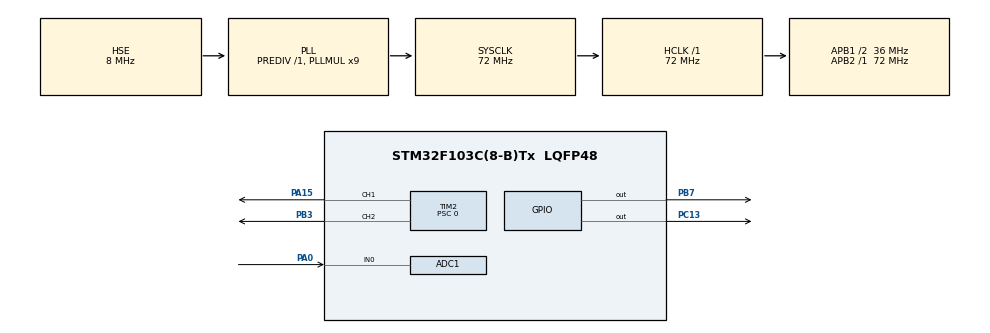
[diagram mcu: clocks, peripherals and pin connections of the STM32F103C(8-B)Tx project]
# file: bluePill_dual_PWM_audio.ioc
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ADC1.Channel-1\#ChannelRegularConversion=ADC_CHANNEL_0
ADC1.ExternalTrigConv=ADC_EXTERNALTRIGCONV_T3_TRGO
ADC1.NbrOfConversionFlag=1
ADC1.Rank-1\#ChannelRegularConversion=1
ADC1.SamplingTime-1\#ChannelRegularConversion=ADC_SAMPLETIME_71CYCLES_5
ADC1.master=1
Dma.ADC1.0.Direction=DMA_PERIPH_TO_MEMORY
Dma.ADC1.0.Instance=DMA1_Channel1
Dma.ADC1.0.MemDataAlignment=DMA_MDATAALIGN_HALFWORD
Dma.ADC1.0.MemInc=DMA_MINC_ENABLE
Dma.ADC1.0.Mode=DMA_CIRCULAR
Dma.ADC1.0.PeriphDataAlignment=DMA_PDATAALIGN_HALFWORD
Dma.ADC1.0.PeriphInc=DMA_PINC_DISABLE
Dma.ADC1.0.Priority=DMA_PRIORITY_LOW
Dma.Request0=ADC1
Mcu.Family=STM32F1
Mcu.Name=STM32F103C(8-B)Tx
Mcu.Package=LQFP48
NVIC.DMA1_Channel1_IRQn=true\:1\:0\:true\:false\:true\:false\:true\:true
NVIC.PriorityGroup=NVIC_PRIORITYGROUP_4
NVIC.TIM3_IRQn=true\:14\:0\:true\:false\:true\:true\:true\:true
PA0-WKUP.Signal=ADCx_IN0
PA13.Mode=Serial_Wire
PA13.Signal=SYS_JTMS-SWDIO
PA14.Mode=Serial_Wire
PA14.Signal=SYS_JTCK-SWCLK
PA15.Signal=S_TIM2_CH1_ETR
PB3.Signal=S_TIM2_CH2
PB7.Signal=GPIO_Output
PC13-TAMPER-RTC.Signal=GPIO_Output
PC14-OSC32_IN.Mode=LSE-External-Oscillator
PC14-OSC32_IN.Signal=RCC_OSC32_IN
PC15-OSC32_OUT.Mode=LSE-External-Oscillator
PC15-OSC32_OUT.Signal=RCC_OSC32_OUT
PD0-OSC_IN.Mode=HSE-External-Oscillator
PD0-OSC_IN.Signal=RCC_OSC_IN
PD1-OSC_OUT.Mode=HSE-External-Oscillator
PD1-OSC_OUT.Signal=RCC_OSC_OUT
ProjectManager.HeapSize=0x200
ProjectManager.StackSize=0x400
ProjectManager.TargetToolchain=STM32CubeIDE
RCC.ADCPresc=RCC_ADCPCLK2_DIV6
RCC.AHBFreq_Value=72000000
RCC.APB1CLKDivider=RCC_HCLK_DIV2
RCC.APB1Freq_Value=36000000
RCC.APB1TimFreq_Value=72000000
RCC.APB2Freq_Value=72000000
RCC.APB2TimFreq_Value=72000000
RCC.HCLKFreq_Value=72000000
RCC.PLLMUL=RCC_PLL_MUL9
RCC.PLLSourceVirtual=RCC_PLLSOURCE_HSE
RCC.SYSCLKFreq_VALUE=72000000
RCC.SYSCLKSource=RCC_SYSCLKSOURCE_PLLCLK
RCC.USBFreq_Value=48000000
RCC.USBPrescaler=RCC_USBCLKSOURCE_PLL_DIV1_5
SH.ADCx_IN0.0=ADC1_IN0,IN0
SH.S_TIM2_CH1_ETR.0=TIM2_CH1,PWM Generation1 CH1
SH.S_TIM2_CH2.0=TIM2_CH2,PWM Generation2 CH2
TIM2.Channel-PWM\ Generation1\ CH1=TIM_CHANNEL_1
TIM2.Channel-PWM\ Generation2\ CH2=TIM_CHANNEL_2
TIM2.Period=63
TIM2.Prescaler=0
TIM2.Pulse-PWM\ Generation1\ CH1=0
TIM2.TIM_MasterOutputTrigger=TIM_TRGO_RESET
TIM3.Channel-PWM\ Generation1\ No\ Output=TIM_CHANNEL_1
TIM3.Period=2999
TIM3.Prescaler=0
TIM3.TIM_MasterOutputTrigger=TIM_TRGO_UPDATE
VP_TIM2_VS_ClockSourceINT.Mode=Internal
VP_TIM3_VS_ClockSourceINT.Mode=Internal
VP_TIM3_VS_no_output1.Mode=PWM Generation1 No Output
board=custom

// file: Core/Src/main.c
/* USER CODE BEGIN Header */
/**
  ******************************************************************************
  * @file           : main.c
  * @brief          : Main program body
  ******************************************************************************
  * @attention
  *
  * Copyright (c) 2024 STMicroelectronics.
  * All rights reserved.
  *
  * This software is licensed under terms that can be found in the LICENSE file
  * in the root directory of this software component.
  * If no LICENSE file comes with this software, it is provided AS-IS.
  *
  ******************************************************************************
  */
/* USER CODE END Header */
#include "main.h"

/* USER CODE BEGIN Includes */
#include <stdbool.h>
/* USER CODE END Includes */

/* USER CODE BEGIN PD */
#define BUFFER_SIZE 1024
/* USER CODE END PD */

ADC_HandleTypeDef hadc1;
DMA_HandleTypeDef hdma_adc1;

TIM_HandleTypeDef htim2;
TIM_HandleTypeDef htim3;

/* USER CODE BEGIN PV */
uint16_t adc_buffer[BUFFER_SIZE];
uint16_t dac_buffer[BUFFER_SIZE];

volatile uint16_t curr_sample_pos;
bool processLowerBuffer;
bool processUpperBuffer;
/* USER CODE END PV */

void SystemClock_Config(void);
static void MX_GPIO_Init(void);
static void MX_DMA_Init(void);
static void MX_ADC1_Init(void);
static void MX_TIM3_Init(void);
static void MX_TIM2_Init(void);

int main(void)
{

  /* USER CODE BEGIN 1 */
  //Clearing the buffers
  for(uint16_t i = 0; i < BUFFER_SIZE; i++)
  {
	  adc_buffer[i] = 0;
	  dac_buffer[i] = 0;
  }

  //Setting the index of the current position to the second half
  curr_sample_pos = BUFFER_SIZE / 2;

  //Resetting flags
  processLowerBuffer = false;
  processUpperBuffer = false;

  /* USER CODE END 1 */

  /* MCU Configuration--------------------------------------------------------*/

  /* Reset of all peripherals, Initializes the Flash interface and the Systick. */
  HAL_Init();

  /* Configure the system clock */
  SystemClock_Config();

  /* Initialize all configured peripherals */
  MX_GPIO_Init();
  MX_DMA_Init();
  MX_ADC1_Init();
  MX_TIM3_Init();
  MX_TIM2_Init();
  /* USER CODE BEGIN 2 */

  //Turning off the LED (inversed)
  HAL_GPIO_WritePin(GPIOC, GPIO_PIN_13, 1);

  //Turning off help GPIO
  HAL_GPIO_WritePin(GPIOB, GPIO_PIN_7, 0);

  //Starting the ADC module
  HAL_ADC_Start_DMA(&hadc1, (uint32_t*)adc_buffer, BUFFER_SIZE);

  //Starting TIM3 with interrupts
  HAL_TIM_Base_Start_IT(&htim3);

  //Starting TIM2
  HAL_TIM_PWM_Start(&htim2, TIM_CHANNEL_1);
  HAL_TIM_PWM_Start(&htim2, TIM_CHANNEL_2);

  /* USER CODE END 2 */

  /* Infinite loop */
  /* USER CODE BEGIN WHILE */
  while (1)
  {
	  //Processing the lower half of the ADC's buffer if flag was set
	  if(processLowerBuffer == true)
	  {
		  HAL_GPIO_WritePin(GPIOB, GPIO_PIN_7, 1);

		  for(uint16_t i = 0; i < BUFFER_SIZE/2; i++)
		  {
			  dac_buffer[i] = adc_buffer[i];
		  }

		  processLowerBuffer = false;

		  HAL_GPIO_WritePin(GPIOB, GPIO_PIN_7, 0);
	  }

	  //Processing the upper half of the ADC's buffer if flag was set
	  if(processUpperBuffer == true)
	  {
		  HAL_GPIO_WritePin(GPIOB, GPIO_PIN_7, 1);

		  for(uint16_t i = BUFFER_SIZE/2; i < BUFFER_SIZE; i++)
		  {
			  dac_buffer[i] = adc_buffer[i];
		  }

		  processUpperBuffer = false;

		  HAL_GPIO_WritePin(GPIOB, GPIO_PIN_7, 0);
	  }
    /* USER CODE END WHILE */

  }
}

void SystemClock_Config(void)
{
  RCC_OscInitTypeDef RCC_OscInitStruct = {0};
  RCC_ClkInitTypeDef RCC_ClkInitStruct = {0};
  RCC_PeriphCLKInitTypeDef PeriphClkInit = {0};

  /** Initializes the RCC Oscillators according to the specified parameters
  * in the RCC_OscInitTypeDef structure.
  */
  RCC_OscInitStruct.OscillatorType = RCC_OSCILLATORTYPE_HSE;
  RCC_OscInitStruct.HSEState = RCC_HSE_ON;
  RCC_OscInitStruct.HSEPredivValue = RCC_HSE_PREDIV_DIV1;
  RCC_OscInitStruct.HSIState = RCC_HSI_ON;
  RCC_OscInitStruct.PLL.PLLState = RCC_PLL_ON;
  RCC_OscInitStruct.PLL.PLLSource = RCC_PLLSOURCE_HSE;
  RCC_OscInitStruct.PLL.PLLMUL = RCC_PLL_MUL9;
  if (HAL_RCC_OscConfig(&RCC_OscInitStruct) != HAL_OK)
  {
    Error_Handler();
  }

  /** Initializes the CPU, AHB and APB buses clocks
  */
  RCC_ClkInitStruct.ClockType = RCC_CLOCKTYPE_HCLK|RCC_CLOCKTYPE_SYSCLK
                              |RCC_CLOCKTYPE_PCLK1|RCC_CLOCKTYPE_PCLK2;
  RCC_ClkInitStruct.SYSCLKSource = RCC_SYSCLKSOURCE_PLLCLK;
  RCC_ClkInitStruct.AHBCLKDivider = RCC_SYSCLK_DIV1;
  RCC_ClkInitStruct.APB1CLKDivider = RCC_HCLK_DIV2;
  RCC_ClkInitStruct.APB2CLKDivider = RCC_HCLK_DIV1;

  if (HAL_RCC_ClockConfig(&RCC_ClkInitStruct, FLASH_LATENCY_2) != HAL_OK)
  {
    Error_Handler();
  }
  PeriphClkInit.PeriphClockSelection = RCC_PERIPHCLK_ADC;
  PeriphClkInit.AdcClockSelection = RCC_ADCPCLK2_DIV6;
  if (HAL_RCCEx_PeriphCLKConfig(&PeriphClkInit) != HAL_OK)
  {
    Error_Handler();
  }
}

static void MX_ADC1_Init(void)
{

  ADC_ChannelConfTypeDef sConfig = {0};

  /** Common config
  */
  hadc1.Instance = ADC1;
  hadc1.Init.ScanConvMode = ADC_SCAN_DISABLE;
  hadc1.Init.ContinuousConvMode = DISABLE;
  hadc1.Init.DiscontinuousConvMode = DISABLE;
  hadc1.Init.ExternalTrigConv = ADC_EXTERNALTRIGCONV_T3_TRGO;
  hadc1.Init.DataAlign = ADC_DATAALIGN_RIGHT;
  hadc1.Init.NbrOfConversion = 1;
  if (HAL_ADC_Init(&hadc1) != HAL_OK)
  {
    Error_Handler();
  }

  /** Configure Regular Channel
  */
  sConfig.Channel = ADC_CHANNEL_0;
  sConfig.Rank = ADC_REGULAR_RANK_1;
  sConfig.SamplingTime = ADC_SAMPLETIME_71CYCLES_5;
  if (HAL_ADC_ConfigChannel(&hadc1, &sConfig) != HAL_OK)
  {
    Error_Handler();
  }

}

static void MX_TIM2_Init(void)
{

  TIM_ClockConfigTypeDef sClockSourceConfig = {0};
  TIM_MasterConfigTypeDef sMasterConfig = {0};
  TIM_OC_InitTypeDef sConfigOC = {0};

  htim2.Instance = TIM2;
  htim2.Init.Prescaler = 0;
  htim2.Init.CounterMode = TIM_COUNTERMODE_UP;
  htim2.Init.Period = 63;
  htim2.Init.ClockDivision = TIM_CLOCKDIVISION_DIV1;
  htim2.Init.AutoReloadPreload = TIM_AUTORELOAD_PRELOAD_DISABLE;
  if (HAL_TIM_Base_Init(&htim2) != HAL_OK)
  {
    Error_Handler();
  }
  sClockSourceConfig.ClockSource = TIM_CLOCKSOURCE_INTERNAL;
  if (HAL_TIM_ConfigClockSource(&htim2, &sClockSourceConfig) != HAL_OK)
  {
    Error_Handler();
  }
  if (HAL_TIM_PWM_Init(&htim2) != HAL_OK)
  {
    Error_Handler();
  }
  sMasterConfig.MasterOutputTrigger = TIM_TRGO_RESET;
  sMasterConfig.MasterSlaveMode = TIM_MASTERSLAVEMODE_DISABLE;
  if (HAL_TIMEx_MasterConfigSynchronization(&htim2, &sMasterConfig) != HAL_OK)
  {
    Error_Handler();
  }
  sConfigOC.OCMode = TIM_OCMODE_PWM1;
  sConfigOC.Pulse = 0;
  sConfigOC.OCPolarity = TIM_OCPOLARITY_HIGH;
  sConfigOC.OCFastMode = TIM_OCFAST_DISABLE;
  if (HAL_TIM_PWM_ConfigChannel(&htim2, &sConfigOC, TIM_CHANNEL_1) != HAL_OK)
  {
    Error_Handler();
  }
  if (HAL_TIM_PWM_ConfigChannel(&htim2, &sConfigOC, TIM_CHANNEL_2) != HAL_OK)
  {
    Error_Handler();
  }
  HAL_TIM_MspPostInit(&htim2);

}

static void MX_TIM3_Init(void)
{

  TIM_ClockConfigTypeDef sClockSourceConfig = {0};
  TIM_MasterConfigTypeDef sMasterConfig = {0};
  TIM_OC_InitTypeDef sConfigOC = {0};

  htim3.Instance = TIM3;
  htim3.Init.Prescaler = 0;
  htim3.Init.CounterMode = TIM_COUNTERMODE_UP;
  htim3.Init.Period = 2999;
  htim3.Init.ClockDivision = TIM_CLOCKDIVISION_DIV1;
  htim3.Init.AutoReloadPreload = TIM_AUTORELOAD_PRELOAD_DISABLE;
  if (HAL_TIM_Base_Init(&htim3) != HAL_OK)
  {
    Error_Handler();
  }
  sClockSourceConfig.ClockSource = TIM_CLOCKSOURCE_INTERNAL;
  if (HAL_TIM_ConfigClockSource(&htim3, &sClockSourceConfig) != HAL_OK)
  {
    Error_Handler();
  }
  if (HAL_TIM_PWM_Init(&htim3) != HAL_OK)
  {
    Error_Handler();
  }
  sMasterConfig.MasterOutputTrigger = TIM_TRGO_UPDATE;
  sMasterConfig.MasterSlaveMode = TIM_MASTERSLAVEMODE_DISABLE;
  if (HAL_TIMEx_MasterConfigSynchronization(&htim3, &sMasterConfig) != HAL_OK)
  {
    Error_Handler();
  }
  sConfigOC.OCMode = TIM_OCMODE_PWM1;
  sConfigOC.Pulse = 0;
  sConfigOC.OCPolarity = TIM_OCPOLARITY_HIGH;
  sConfigOC.OCFastMode = TIM_OCFAST_DISABLE;
  if (HAL_TIM_PWM_ConfigChannel(&htim3, &sConfigOC, TIM_CHANNEL_1) != HAL_OK)
  {
    Error_Handler();
  }

}

static void MX_DMA_Init(void)
{

  /* DMA controller clock enable */
  __HAL_RCC_DMA1_CLK_ENABLE();

  /* DMA interrupt init */
  /* DMA1_Channel1_IRQn interrupt configuration */
  HAL_NVIC_SetPriority(DMA1_Channel1_IRQn, 1, 0);
  HAL_NVIC_EnableIRQ(DMA1_Channel1_IRQn);

}

static void MX_GPIO_Init(void)
{
  GPIO_InitTypeDef GPIO_InitStruct = {0};

  /* GPIO Ports Clock Enable */
  __HAL_RCC_GPIOC_CLK_ENABLE();
  __HAL_RCC_GPIOD_CLK_ENABLE();
  __HAL_RCC_GPIOA_CLK_ENABLE();
  __HAL_RCC_GPIOB_CLK_ENABLE();

  /*Configure GPIO pin Output Level */
  HAL_GPIO_WritePin(GPIOC, GPIO_PIN_13, GPIO_PIN_RESET);

  /*Configure GPIO pin Output Level */
  HAL_GPIO_WritePin(GPIOB, GPIO_PIN_7, GPIO_PIN_RESET);

  /*Configure GPIO pin : PC13 */
  GPIO_InitStruct.Pin = GPIO_PIN_13;
  GPIO_InitStruct.Mode = GPIO_MODE_OUTPUT_PP;
  GPIO_InitStruct.Pull = GPIO_NOPULL;
  GPIO_InitStruct.Speed = GPIO_SPEED_FREQ_LOW;
  HAL_GPIO_Init(GPIOC, &GPIO_InitStruct);

  /*Configure GPIO pin : PB7 */
  GPIO_InitStruct.Pin = GPIO_PIN_7;
  GPIO_InitStruct.Mode = GPIO_MODE_OUTPUT_PP;
  GPIO_InitStruct.Pull = GPIO_NOPULL;
  GPIO_InitStruct.Speed = GPIO_SPEED_FREQ_LOW;
  HAL_GPIO_Init(GPIOB, &GPIO_InitStruct);

}

/* USER CODE BEGIN 4 */
void HAL_TIM_PeriodElapsedCallback(TIM_HandleTypeDef* htim)
{
	if(htim->Instance == TIM3)
	{
		//Incrementing the position of the current sample
		curr_sample_pos++;
		//Wrapping around if end of the ADC buffer was reached
		if(curr_sample_pos >= BUFFER_SIZE)
		{
			curr_sample_pos = 0;
		}

		//Setting the output sample's upper six bits to CCR1 (channel 1) and the lower six bits to CCR2 (channel 2)
		htim2.Instance->CCR1 = (dac_buffer[curr_sample_pos] & 0xFC0) >> 6;
		htim2.Instance->CCR2 = dac_buffer[curr_sample_pos] & 0xF3;

		//Setting flag for processing the lower half of the ADC's buffer
		if(curr_sample_pos == BUFFER_SIZE/2)
		{
			processLowerBuffer = true;
			return;
		}

		//Setting flag for processing the upper half of the ADC's buffer
		if(curr_sample_pos == BUFFER_SIZE-1)
		{
			processUpperBuffer = true;
			return;
		}
	}
}

/*
void HAL_ADC_ConvHalfCpltCallback(ADC_HandleTypeDef* hadc)
{

}

void HAL_ADC_ConvCpltCallback(ADC_HandleTypeDef* hadc)
{

}
*/
/* USER CODE END 4 */

void Error_Handler(void)
{
  __disable_irq();
  while (1)
  {
  }
}
